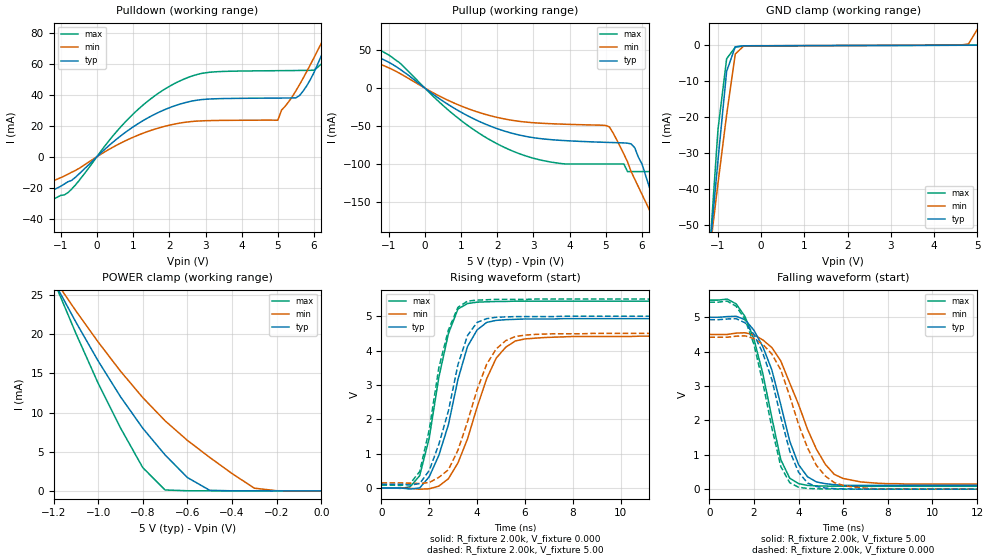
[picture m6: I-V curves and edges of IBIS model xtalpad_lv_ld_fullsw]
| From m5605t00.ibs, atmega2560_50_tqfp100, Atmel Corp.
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|   Model xtalpad_lv_ld_fullsw
[Model]   xtalpad_lv_ld_fullsw
Model_type   I/O
Polarity   Non-Inverting
Enable   Active-High
Vinl =   0.99V
Vinh =   2.31V
Vmeas =   1.65V
Cref =  50.00pF
C_comp   7.42pF   7.51pF   10.14pF
[Temperature Range]   27.00   0.12k   -55.00
[Voltage Range]   5.00V   4.50V   5.50V
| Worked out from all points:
|   slope of the pulldown table from 0 to 0.75 V, typ, clamps not added: 49.7 ohm
|   slope of the pullup table from 0 to 0.75 V, typ, clamps not added: 30.3 ohm
|   GND clamp passes 1 mA (typ) near -0.62 V on its own axis
|   POWER clamp passes 1 mA (typ) near -0.56 V on its own axis
|   rising waveform, R_fixture 2.00k, V_fixture 0.000: 20-80 % time 1.11ns typ, 1.35ns min, 892ps max; typ from 0 V to 4.93 V
|   rising waveform, R_fixture 2.00k, V_fixture 5.00: 20-80 % time 1.1ns typ, 1.28ns min, 908ps max; typ from 0.11 V to 5 V
|   falling waveform, R_fixture 2.00k, V_fixture 5.00: 20-80 % time 1.31ns typ, 1.66ns min, 1.13ns max; typ from 5 V to 0.11 V
|   falling waveform, R_fixture 2.00k, V_fixture 0.000: 20-80 % time 1.28ns typ, 1.51ns min, 1.13ns max; typ from 4.93 V to 0 V
[Pulldown]
| voltage   I(typ)   I(min)   I(max)
-5V       -45mA      -44.8mA    -40.8mA
-2.6V     -34mA      -27.4mA    -37.6mA
-1.4V     -23.74mA   -17.4mA    -29.73mA
-800mV    -16.03mA   -11.14mA   -23.07mA
800mV     16.13mA    10.6mA     23.02mA
2V        31.78mA    20.52mA    45.6mA
3V        37.28mA    23.42mA    54.42mA
5V        38.05mA    23.76mA    55.77mA
5.6V      39.75mA    46.79mA    55.91mA
6.4V      76.05mA    82.7mA     63.98mA
6.8V      99.41mA    100mA      90.16mA
10V       310mA      270mA      360mA
[Pullup]
| voltage   I(typ)   I(min)   I(max)
-5V       71.6mA     74.1mA     77.6mA
-3.4V     68.3mA     63.7mA     77.6mA
-1.8V     50.97mA    42.35mA    62.21mA
-700mV    25.29mA    19.61mA    33.54mA
800mV     -26.21mA   -19.52mA   -35.05mA
2.1V      -55.11mA   -39.69mA   -75.89mA
3.5V      -67.99mA   -46.96mA   -97.61mA
5.1V      -71.64mA   -51.12mA   -100mA
5.8V      -78.62mA   -120mA     -110mA
6.4V      -160mA     -180mA     -110mA
6.8V      -210mA     -230mA     -180mA
10V       -690mA     -600mA     -810mA
[GND_clamp]
| voltage   I(typ)   I(min)   I(max)
-5V       -610mA     -480mA     -790mA
-1.2V     -58.04mA   -58.29mA   -58.4mA
-1V       -31.92mA   -38.3mA    -23.35mA
-800mV    -7.27mA    -19.36mA   -3.76mA
-600mV    -440uA     -2.45mA    -540uA
-400mV    -180uA     -190uA     -200uA
4.6V      -12.94uA   4.16uA     -29.45uA
4.8V      -6.47uA    350uA      -22.9uA
5V        200pA      4.28mA     -16.36uA
[POWER_clamp]
| voltage   I(typ)   I(min)   I(max)
-5V       250mA      210mA      320mA
-1.2V     26.82mA    27.17mA    26.9mA
-1.1V     21.56mA    22.99mA    20.12mA
-1V       16.59mA    19.01mA    13.74mA
-900mV    12.03mA    15.29mA    8.05mA
-800mV    8mA        11.91mA    2.97mA
-700mV    4.59mA     8.95mA     120uA
-600mV    1.71mA     6.45mA     22.08uA
-500mV    80.54uA    4.28mA     16.4uA
-300mV    9.73uA     350uA      9.82uA
-200mV    6.47uA     25.21uA    6.54uA
0V        200pA      4.51nA     160pA
[Ramp]
| variable   typ   min   max
dV/dt_r   2.96/0.98n   2.65/1.30n   3.27/0.75n
dV/dt_f   2.93/1.19n   2.61/1.65n   3.25/0.99n
R_load = 2.00k
[Rising Waveform]
R_fixture = 2.00k
V_fixture = 0.000
V_fixture_min = 0.000
V_fixture_max = 0.000
| time   V(typ)   V(min)   V(max)
0s        0V         3.63uV     0V
1.6ns     1.47mV     -33.76mV   360mV
2ns       330mV      -22.55mV   1.46V
2.4ns     950mV      54.49mV    3.22V
2.8ns     1.84V      270mV      4.49V
3.2ns     3.16V      730mV      5.21V
3.6ns     4.12V      1.43V      5.37V
4.8ns     4.88V      3.78V      5.43V
5.6ns     4.91V      4.28V      5.44V
20ns      4.93V      4.42V      5.44V
[Rising Waveform]
R_fixture = 2.00k
V_fixture = 5.00
V_fixture_min = 4.50
V_fixture_max = 5.50
| time   V(typ)   V(min)   V(max)
0s        110mV      150mV      83.7mV
1.2ns     85.44mV    140mV      130mV
1.6ns     130mV      130mV      480mV
2ns       510mV      160mV      1.7V
2.4ns     1.27V      310mV      3.5V
2.8ns     2.24V      530mV      4.6V
3.6ns     4.44V      1.93V      5.44V
4.4ns     4.93V      3.6V       5.48V
5.6ns     4.99V      4.41V      5.49V
20ns      5V         4.5V       5.5V
[Falling Waveform]
R_fixture = 2.00k
V_fixture = 5.00
V_fixture_min = 4.50
V_fixture_max = 5.50
| time   V(typ)   V(min)   V(max)
0s        5V         4.5V       5.5V
1.2ns     5.03V      4.54V      5.39V
2ns       4.62V      4.49V      4.36V
2.8ns     3.47V      4.12V      2.08V
3.2ns     2.46V      3.73V      860mV
3.6ns     1.4V       3.09V      320mV
4ns       710mV      2.46V      160mV
5.2ns     160mV      720mV      90.05mV
6ns       110mV      310mV      85.69mV
20ns      110mV      150mV      83.82mV
[Falling Waveform]
R_fixture = 2.00k
V_fixture = 0.000
V_fixture_min = 0.000
V_fixture_max = 0.000
| time   V(typ)   V(min)   V(max)
0s        4.93V      4.42V      5.44V
1.2ns     4.96V      4.45V      5.32V
2ns       4.5V       4.38V      4.21V
2.8ns     3.19V      3.93V      1.79V
3.2ns     2.1V       3.47V      660mV
3.6ns     1.11V      2.71V      190mV
4ns       490mV      1.88V      54.24mV
4.8ns     76.78mV    690mV      11.7mV
6ns       8.99mV     110mV      1.99mV
20ns      140uV      170uV      110uV
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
